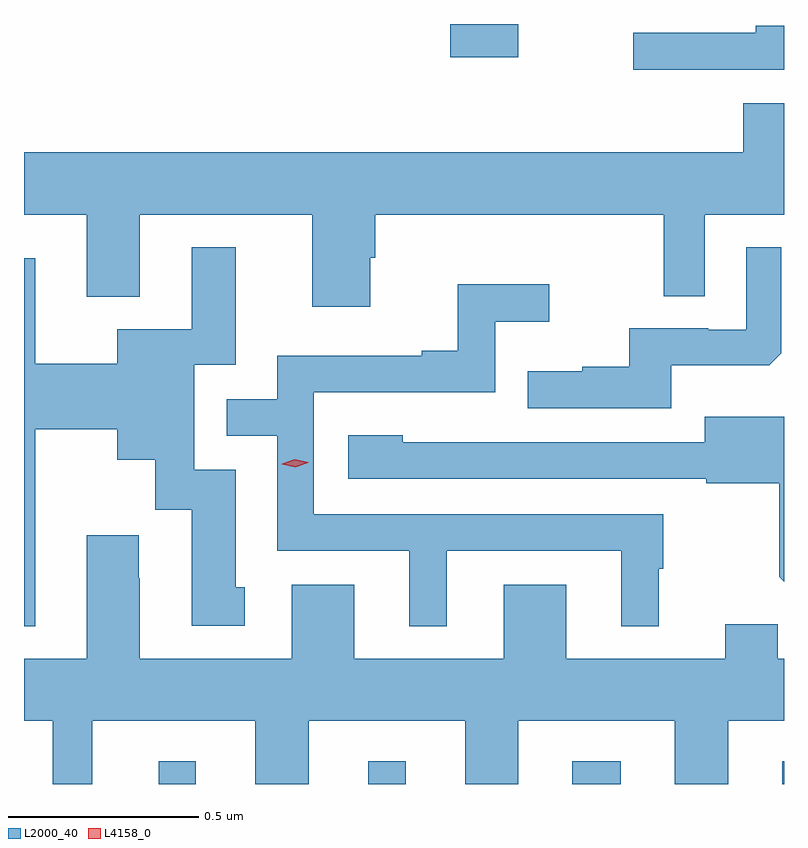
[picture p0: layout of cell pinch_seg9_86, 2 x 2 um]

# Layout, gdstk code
import gdstk
lib = gdstk.Library(unit=1e-6, precision=1e-09)
def R(c, l, rs):  # rectangles x0, y0, x1, y1
    for r in rs: c.add(gdstk.rectangle(r[:2], r[2:], *l))
def P(c, l, *ps):  # polygons
    for p in ps: c.add(gdstk.Polygon(p, *l))
L2000_40 = (2000, 40)
L4158_0 = (4158, 0)

pinch_seg9_86 = lib.new_cell('pinch_seg9_86')
R(pinch_seg9_86, L2000_40, [(1112.726,1196.254,1112.824,1196.314), (1113.278,1196.254,1113.376,1196.314), (1113.815,1196.254,1113.943,1196.314), (1114.367,1196.254,1114.372,1196.314), (1113.494,1198.167,1113.672,1198.254)])
P(pinch_seg9_86, L2000_40, [(1114.372,1198.25),(1114.298,1198.25),(1114.298,1198.231),(1113.975,1198.231),(1113.975,1198.134),(1114.372,1198.134)],
  [(1113.283,1197.639),(1113.296,1197.639),(1113.296,1197.752),(1114.056,1197.752),(1114.056,1197.538),(1114.164,1197.538),(1114.164,1197.752),(1114.372,1197.752),(1114.372,1198.045),(1114.265,1198.045),(1114.265,1197.916),(1112.372,1197.916),(1112.372,1197.752),(1112.537,1197.752),(1112.537,1197.536),(1112.677,1197.536),(1112.677,1197.752),(1113.131,1197.752),(1113.131,1197.51),(1113.283,1197.51)],
  [(1114.075,1197.356),(1114.333,1197.356),(1114.365,1197.387),(1114.365,1197.667),(1114.272,1197.667),(1114.272,1197.45),(1114.172,1197.45),(1114.172,1197.453),(1113.965,1197.453),(1113.965,1197.352),(1113.841,1197.352),(1113.841,1197.34),(1113.697,1197.34),(1113.697,1197.243),(1114.075,1197.243)],
  [(1112.401,1197.188),(1112.618,1197.188),(1112.618,1197.107),(1112.717,1197.107),(1112.717,1196.976),(1112.813,1196.976),(1112.813,1196.67),(1112.953,1196.67),(1112.953,1196.772),(1112.929,1196.772),(1112.929,1197.081),(1112.82,1197.081),(1112.82,1197.357),(1112.929,1197.357),(1112.929,1197.667),(1112.813,1197.667),(1112.813,1197.451),(1112.618,1197.451),(1112.618,1197.36),(1112.401,1197.36),(1112.401,1197.637),(1112.372,1197.637),(1112.372,1196.669),(1112.401,1196.669)],
  [(1113.484,1196.868),(1113.944,1196.868),(1113.944,1196.669),(1114.042,1196.669),(1114.042,1196.82),(1114.054,1196.82),(1114.054,1196.964),(1113.135,1196.964),(1113.135,1197.285),(1113.612,1197.285),(1113.612,1197.47),(1113.754,1197.47),(1113.754,1197.569),(1113.514,1197.569),(1113.514,1197.394),(1113.419,1197.394),(1113.419,1197.381),(1113.039,1197.381),(1113.039,1197.267),(1112.906,1197.267),(1112.906,1197.171),(1113.039,1197.171),(1113.039,1196.868),(1113.386,1196.868),(1113.386,1196.669),(1113.484,1196.669)],
  [(1114.372,1197.22),(1114.163,1197.22),(1114.163,1197.153),(1113.605,1197.153),(1113.605,1197.154),(1113.369,1197.154),(1113.369,1197.172),(1113.225,1197.172),(1113.225,1197.057),(1114.167,1197.057),(1114.167,1197.045),(1114.359,1197.045),(1114.359,1196.799),(1114.372,1196.786)],
  [(1114.225,1196.42),(1114.372,1196.42),(1114.372,1196.584),(1114.355,1196.584),(1114.355,1196.675),(1114.217,1196.675),(1114.217,1196.584),(1113.799,1196.584),(1113.799,1196.779),(1113.635,1196.779),(1113.635,1196.584),(1113.241,1196.584),(1113.241,1196.779),(1113.077,1196.779),(1113.077,1196.584),(1112.677,1196.584),(1112.677,1196.795),(1112.674,1196.795),(1112.674,1196.908),(1112.537,1196.908),(1112.537,1196.584),(1112.372,1196.584),(1112.372,1196.42),(1112.447,1196.42),(1112.447,1196.254),(1112.551,1196.254),(1112.551,1196.42),(1112.981,1196.42),(1112.981,1196.254),(1113.121,1196.254),(1113.121,1196.42),(1113.533,1196.42),(1113.533,1196.254),(1113.673,1196.254),(1113.673,1196.42),(1114.085,1196.42),(1114.085,1196.254),(1114.225,1196.254)])
P(pinch_seg9_86, L4158_0, [(1113.086,1197.088),(1113.051,1197.096),(1113.05,1197.096),(1113.051,1197.097),(1113.084,1197.108),(1113.12,1197.101),(1113.12,1197.1),(1113.12,1197.1)])

lib.write_gds('pinch_seg9_86.gds')
